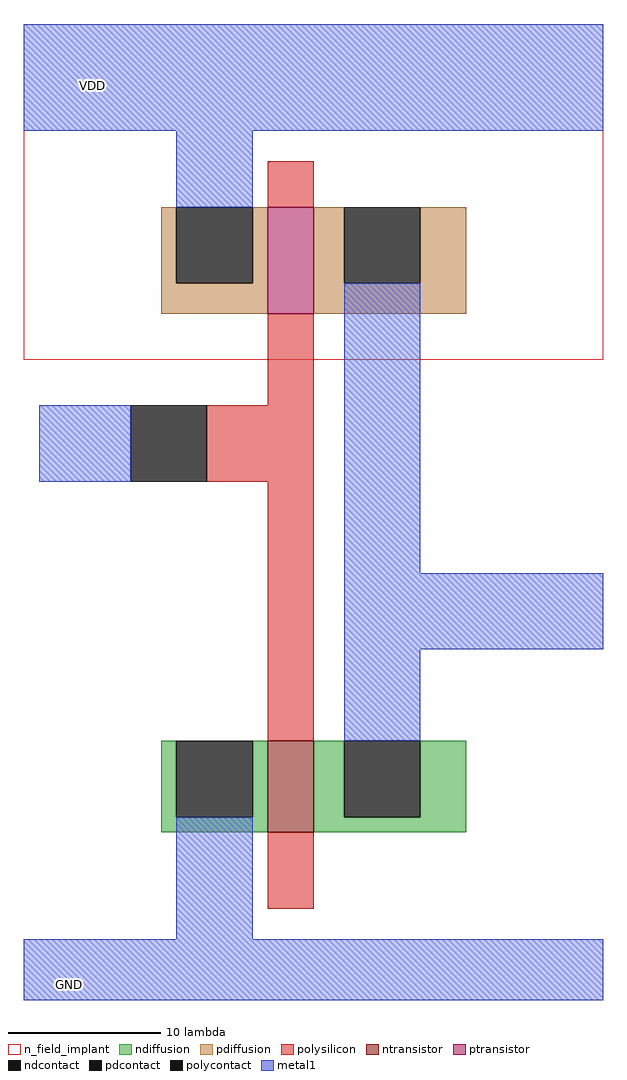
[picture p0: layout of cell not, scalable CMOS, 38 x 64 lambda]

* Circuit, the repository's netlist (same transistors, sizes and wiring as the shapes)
* SPICE3 file created from not.ext - technology: scmos

.option scale=0.09u

M1000 A' A GND Gnd nfet w=6 l=3
+  ad=60 pd=32 as=42 ps=26
M1001 A' A VDD Vdd pfet w=7 l=3
+  ad=70 pd=34 as=49 ps=28

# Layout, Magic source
magic
tech scmos
<< n_field_implant >>
rect -19 -1 19 21
<< ntransistor >>
rect -3 -32 0 -26
<< ptransistor >>
rect -3 2 0 9
<< ndiffusion >>
rect -10 -31 -9 -26
rect -4 -31 -3 -26
rect -10 -32 -3 -31
rect 0 -31 2 -26
rect 7 -31 10 -26
rect 0 -32 10 -31
<< pdiffusion >>
rect -10 4 -9 9
rect -4 4 -3 9
rect -10 2 -3 4
rect 0 4 2 9
rect 7 4 10 9
rect 0 2 10 4
<< ndcontact >>
rect -9 -31 -4 -26
rect 2 -31 7 -26
<< pdcontact >>
rect -9 4 -4 9
rect 2 4 7 9
<< polysilicon >>
rect -3 9 0 12
rect -3 -4 0 2
rect -7 -9 0 -4
rect -3 -26 0 -9
rect -3 -37 0 -32
<< polycontact >>
rect -12 -9 -7 -4
<< metal1 >>
rect -19 14 19 21
rect -9 9 -4 14
rect -18 -9 -12 -4
rect 2 -15 7 4
rect 2 -20 19 -15
rect 2 -26 7 -20
rect -9 -39 -4 -31
rect -19 -43 19 -39
<< labels >>
rlabel metal1 -16 16 -13 18 5 VDD
rlabel metal1 -17 -43 -15 -41 1 GND
<< end >>
